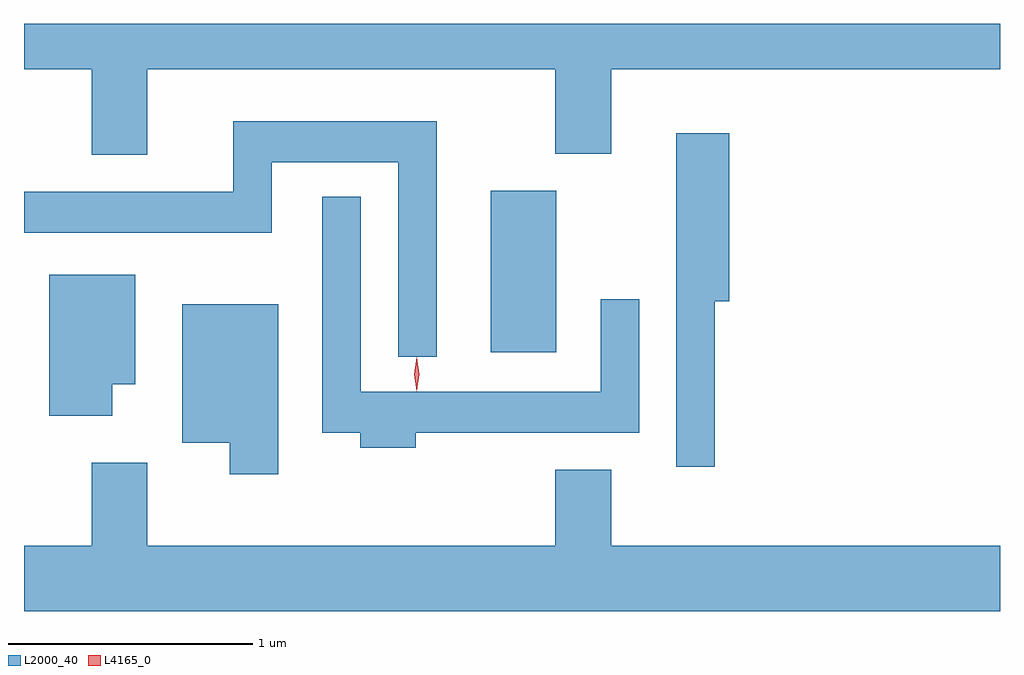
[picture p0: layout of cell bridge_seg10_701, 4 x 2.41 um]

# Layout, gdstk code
import gdstk
lib = gdstk.Library(unit=1e-6, precision=1e-09)
def R(c, l, rs):  # rectangles x0, y0, x1, y1
    for r in rs: c.add(gdstk.rectangle(r[:2], r[2:], *l))
def P(c, l, *ps):  # polygons
    for p in ps: c.add(gdstk.Polygon(p, *l))
L2000_40 = (2000, 40)
L4165_0 = (4165, 0)

bridge_seg10_701 = lib.new_cell('bridge_seg10_701')
R(bridge_seg10_701, L2000_40, [(1042.576,2121.636,1042.844,2122.299)])
P(bridge_seg10_701, L2000_40, [(1041.169,2122.796),(1042.841,2122.796),(1042.841,2122.451),(1043.069,2122.451),(1043.069,2122.796),(1044.663,2122.796),(1044.663,2122.982),(1040.663,2122.982),(1040.663,2122.796),(1040.941,2122.796),(1040.941,2122.446),(1041.169,2122.446)],
  [(1042.354,2122.584),(1041.521,2122.584),(1041.521,2122.294),(1040.663,2122.294),(1040.663,2122.126),(1041.679,2122.126),(1041.679,2122.416),(1042.196,2122.416),(1042.196,2121.618),(1042.354,2121.618)],
  [(1043.494,2121.846),(1043.554,2121.846),(1043.554,2122.534),(1043.336,2122.534),(1043.336,2121.168),(1043.494,2121.168)],
  [(1042.269,2121.306),(1043.184,2121.306),(1043.184,2121.853),(1043.026,2121.853),(1043.026,2121.474),(1042.044,2121.474),(1042.044,2122.273),(1041.886,2122.273),(1041.886,2121.306),(1042.041,2121.306),(1042.041,2121.246),(1042.269,2121.246)],
  [(1041.024,2121.506),(1041.119,2121.506),(1041.119,2121.954),(1040.766,2121.954),(1040.766,2121.376),(1041.024,2121.376)],
  [(1041.704,2121.834),(1041.311,2121.834),(1041.311,2121.266),(1041.506,2121.266),(1041.506,2121.136),(1041.704,2121.136)],
  [(1044.663,2120.844),(1043.069,2120.844),(1043.069,2121.154),(1042.841,2121.154),(1042.841,2120.844),(1041.169,2120.844),(1041.169,2121.184),(1040.941,2121.184),(1040.941,2120.844),(1040.663,2120.844),(1040.663,2120.576),(1044.663,2120.576)])
P(bridge_seg10_701, L4165_0, [(1042.273,2121.479),(1042.272,2121.48),(1042.263,2121.546),(1042.272,2121.613),(1042.273,2121.613),(1042.273,2121.613),(1042.283,2121.546),(1042.273,2121.48)],
  [(1042.272,2121.477),(1042.263,2121.547),(1042.272,2121.616),(1042.273,2121.616),(1042.273,2121.616),(1042.283,2121.547),(1042.273,2121.477),(1042.273,2121.477)])

lib.write_gds('bridge_seg10_701.gds')
